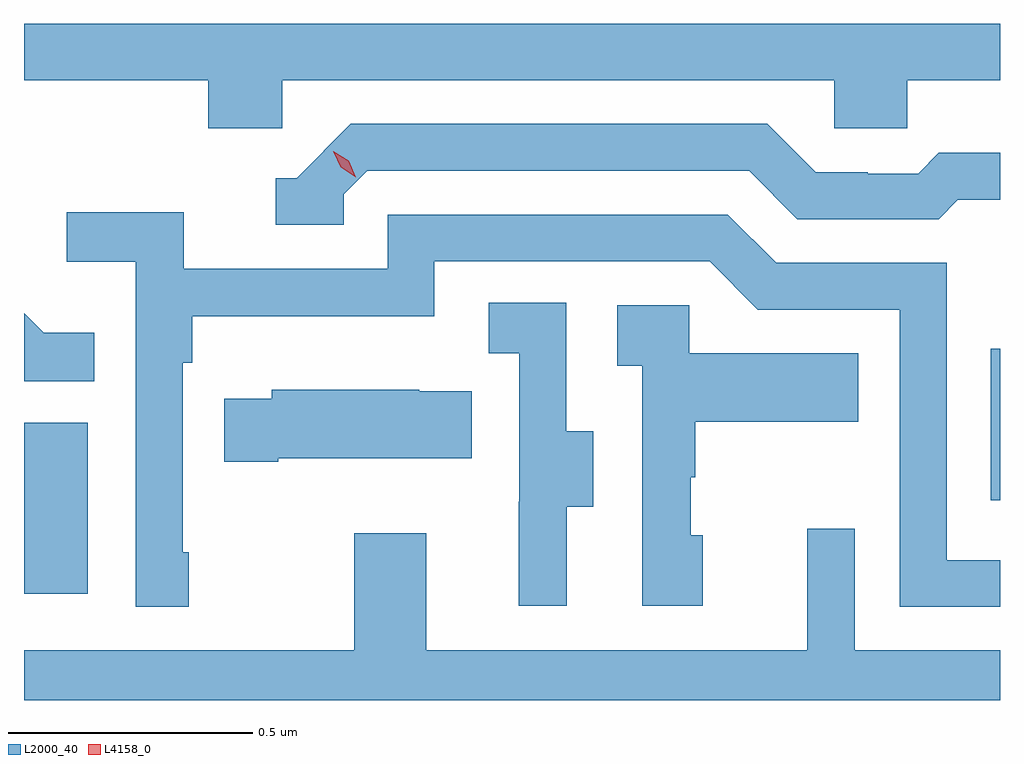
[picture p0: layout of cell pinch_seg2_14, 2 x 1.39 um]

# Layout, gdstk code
import gdstk
lib = gdstk.Library(unit=1e-6, precision=1e-09)
def R(c, l, rs):  # rectangles x0, y0, x1, y1
    for r in rs: c.add(gdstk.rectangle(r[:2], r[2:], *l))
def P(c, l, *ps):  # polygons
    for p in ps: c.add(gdstk.Polygon(p, *l))
L2000_40 = (2000, 40)
L4158_0 = (4158, 0)

pinch_seg2_14 = lib.new_cell('pinch_seg2_14')
R(pinch_seg2_14, L2000_40, [(1090.223,665.232,1090.354,665.583), (1092.204,665.424,1092.223,665.734)])
P(pinch_seg2_14, L2000_40, [(1090.752,666.284),(1091.883,666.284),(1091.883,666.186),(1092.033,666.186),(1092.033,666.284),(1092.223,666.284),(1092.223,666.4),(1090.223,666.4),(1090.223,666.284),(1090.601,666.284),(1090.601,666.186),(1090.752,666.186)],
  [(1090.878,666.051),(1090.926,666.099),(1091.709,666.099),(1091.808,666),(1092.097,666),(1092.136,666.039),(1092.223,666.039),(1092.223,666.136),(1092.097,666.136),(1092.055,666.093),(1091.952,666.093),(1091.952,666.096),(1091.845,666.096),(1091.746,666.195),(1090.893,666.195),(1090.782,666.084),(1090.739,666.084),(1090.739,665.988),(1090.878,665.988)],
  [(1090.561,665.317),(1090.548,665.317),(1090.548,665.705),(1090.568,665.705),(1090.568,665.801),(1091.064,665.801),(1091.064,665.913),(1091.628,665.913),(1091.727,665.814),(1092.018,665.814),(1092.018,665.205),(1092.223,665.205),(1092.223,665.301),(1092.114,665.301),(1092.114,665.91),(1091.764,665.91),(1091.665,666.009),(1090.968,666.009),(1090.968,665.898),(1090.55,665.898),(1090.55,666.014),(1090.311,666.014),(1090.311,665.912),(1090.452,665.912),(1090.452,665.205),(1090.561,665.205)],
  [(1091.335,665.41),(1091.389,665.41),(1091.389,665.565),(1091.334,665.565),(1091.334,665.828),(1091.175,665.828),(1091.175,665.725),(1091.238,665.725),(1091.238,665.421),(1091.237,665.421),(1091.237,665.208),(1091.335,665.208)],
  [(1091.614,665.352),(1091.589,665.352),(1091.589,665.471),(1091.599,665.471),(1091.599,665.585),(1091.933,665.585),(1091.933,665.725),(1091.586,665.725),(1091.586,665.823),(1091.439,665.823),(1091.439,665.699),(1091.49,665.699),(1091.49,665.208),(1091.614,665.208)],
  [(1090.367,665.767),(1090.263,665.767),(1090.223,665.807),(1090.223,665.668),(1090.367,665.668)],
  [(1090.744,665.51),(1091.141,665.51),(1091.141,665.647),(1091.033,665.647),(1091.033,665.65),(1090.731,665.65),(1090.731,665.632),(1090.633,665.632),(1090.633,665.503),(1090.744,665.503)],
  [(1092.223,665.116),(1091.925,665.116),(1091.925,665.365),(1091.828,665.365),(1091.828,665.116),(1091.047,665.116),(1091.047,665.356),(1090.9,665.356),(1090.9,665.116),(1090.223,665.116),(1090.223,665.014),(1092.223,665.014)])
P(pinch_seg2_14, L4158_0, [(1090.903,666.086),(1090.872,666.106),(1090.857,666.139),(1090.857,666.139),(1090.857,666.139),(1090.888,666.119),(1090.903,666.086),(1090.903,666.086)])

lib.write_gds('pinch_seg2_14.gds')
